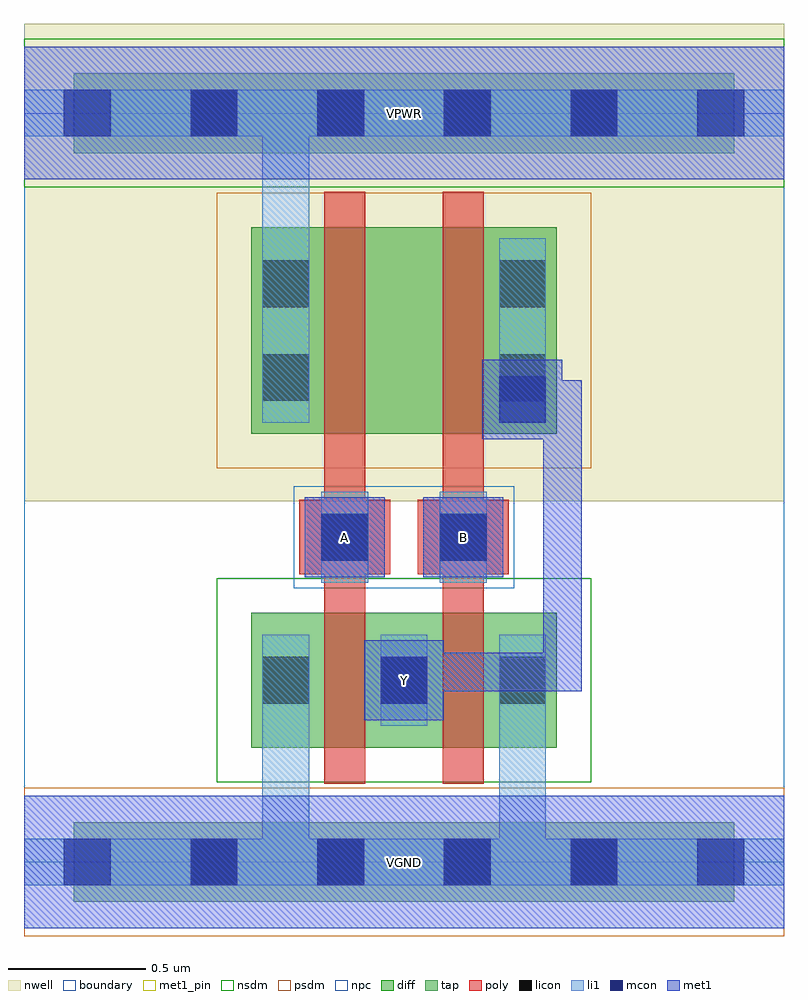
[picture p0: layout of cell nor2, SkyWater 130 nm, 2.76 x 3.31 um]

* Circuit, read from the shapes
.subckt nor2 A B VGND VPWR Y
XM1 Y A VGND VGND sky130_fd_pr__nfet_01v8 w=0.49 l=0.15
XM2 VGND B Y VGND sky130_fd_pr__nfet_01v8 w=0.49 l=0.15
XM3 n1 A VPWR VPWR sky130_fd_pr__pfet_01v8 w=0.75 l=0.15
XM4 Y B n1 VPWR sky130_fd_pr__pfet_01v8 w=0.75 l=0.15
.ends

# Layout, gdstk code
import gdstk
lib = gdstk.Library(unit=1e-6, precision=1e-09)
def R(c, l, rs):  # rectangles x0, y0, x1, y1
    for r in rs: c.add(gdstk.rectangle(r[:2], r[2:], *l))
def A(c, l, x, y, w, h, nx, ny, dx, dy):  # array of equal rectangles
    R(c, l, [(x+i*dx, y+j*dy, x+i*dx+w, y+j*dy+h) for i in range(nx) for j in range(ny)])
nwell = (64, 20)
diff = (65, 20)
tap = (65, 44)
poly = (66, 20)
licon = (66, 44)
li1 = (67, 20)
mcon = (67, 44)
met1_pin = (68, 16)
met1 = (68, 20)
nsdm = (93, 44)
psdm = (94, 20)
npc = (95, 20)
boundary = (235, 4)

nor2 = lib.new_cell('nor2')
R(nor2, nwell, [(0,1.31,2.76,3.045)])
R(nor2, diff, [(0.825,0.415,1.935,0.905), (0.825,1.555,1.935,2.305)])
R(nor2, tap, [(0.18,-0.145,2.58,0.145), (0.18,2.575,2.58,2.865)])
R(nor2, poly, [(1.09,0.285,1.24,2.435), (1.52,0.285,1.67,2.435), (1,1.045,1.33,1.315), (1.43,1.045,1.76,1.315)])
A(nor2, licon, 0.605, -0.085, 0.17, 0.17, 4, 2, 0.46, 2.72)
A(nor2, licon, 0.865, 0.575, 0.17, 0.17, 3, 1, 0.43, 0)
R(nor2, licon, [(1.08,1.095,1.25,1.265), (1.51,1.095,1.68,1.265), (0.865,1.675,1.035,1.845), (1.725,1.675,1.895,1.845), (0.865,2.015,1.035,2.185), (1.725,2.015,1.895,2.185)])
A(nor2, li1, 0.865, 0.495, 0.17, 0.33, 3, 1, 0.43, 0)
R(nor2, li1, [(0,-0.085,2.76,0.085), (0.865,-0.085,1.035,0.825), (1.725,-0.085,1.895,0.825), (1.08,1.015,1.25,1.345), (1.51,1.015,1.68,1.345), (0.865,1.595,1.035,2.265), (0.865,1.595,1.035,2.805), (1.725,1.595,1.895,2.265), (0,2.635,2.76,2.805)])
A(nor2, mcon, 0.145, -0.085, 0.17, 0.17, 6, 2, 0.46, 2.72)
R(nor2, mcon, [(1.295,0.575,1.465,0.745), (1.08,1.095,1.25,1.265), (1.51,1.095,1.68,1.265), (1.725,1.595,1.895,1.765)])
R(nor2, met1_pin, [(0,-0.24,2.76,0.24), (1.235,0.515,1.525,0.805), (1.02,1.035,1.31,1.325), (1.45,1.035,1.74,1.325), (0,2.48,2.76,2.96)])
R(nor2, met1, [(0,-0.24,2.76,0.24), (1.235,0.515,1.525,0.805), (1.31,0.62,1.45,0.76), (1.31,0.62,2.025,0.76), (1.885,0.62,2.025,1.565), (1.02,1.035,1.31,1.325), (1.45,1.035,1.74,1.325), (1.885,1.425,2.025,1.75), (1.665,1.535,1.955,1.825), (1.74,1.61,2.025,1.75), (0,2.48,2.76,2.96)])
R(nor2, nsdm, [(0.7,0.29,2.06,1.03), (0,2.45,2.76,2.99)])
R(nor2, psdm, [(0,-0.27,2.76,0.27), (0.7,1.43,2.06,2.43)])
R(nor2, npc, [(0.98,0.995,1.78,1.365)])
R(nor2, boundary, [(0,0,2.76,2.72)])
nor2.add(gdstk.Label('A', (1.165,1.18), layer=68, texttype=5))
nor2.add(gdstk.Label('B', (1.595,1.18), layer=68, texttype=5))
nor2.add(gdstk.Label('Y', (1.38,0.66), layer=68, texttype=5))
nor2.add(gdstk.Label('VPWR', (1.38,2.72), layer=68, texttype=5))
nor2.add(gdstk.Label('VGND', (1.38,0), layer=68, texttype=5))
nor2.add(gdstk.Label('A', (1.165,1.18), layer=68, texttype=16))
nor2.add(gdstk.Label('B', (1.595,1.18), layer=68, texttype=16))
nor2.add(gdstk.Label('Y', (1.38,0.66), layer=68, texttype=16))
nor2.add(gdstk.Label('VPWR', (1.38,2.72), layer=68, texttype=16))
nor2.add(gdstk.Label('VGND', (1.38,0), layer=68, texttype=16))

lib.write_gds('nor2.gds')
